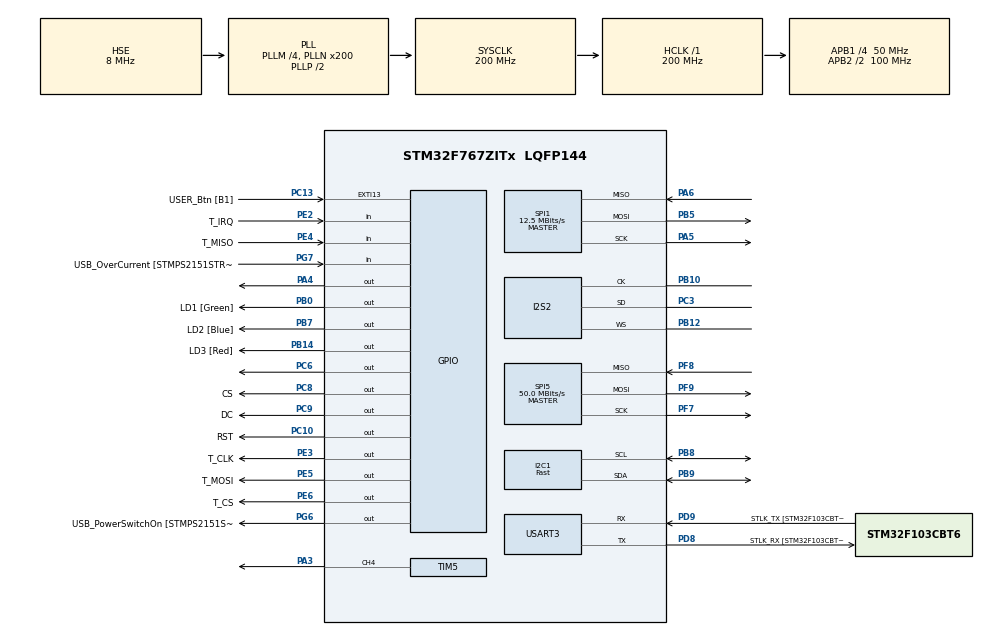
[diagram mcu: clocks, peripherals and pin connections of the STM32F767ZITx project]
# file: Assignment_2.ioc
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CORTEX_M7.CPU_DCache=Enabled
CORTEX_M7.CPU_ICache=Enabled
FATFS._MAX_SS=4096
FATFS._USE_LFN=1
I2C1.I2C_Fall_Time=0
I2C1.I2C_Rise_Time=0
I2C1.I2C_Speed_Mode=I2C_Fast
I2C1.Timing=0x00401959
I2S2.AudioFreq=I2S_AUDIOFREQ_44K
I2S2.ErrorAudioFreq=0.26 %
I2S2.FullDuplexMode=I2S_FULLDUPLEXMODE_DISABLE
I2S2.Instance=SPI$Index
I2S2.RealAudioFreq=44.117 KHz
I2S2.VirtualMode=I2S_MODE_MASTER
Mcu.Family=STM32F7
Mcu.Name=STM32F767ZITx
Mcu.Package=LQFP144
NVIC.PriorityGroup=NVIC_PRIORITYGROUP_4
NVIC.SPI2_IRQn=true\:0\:0\:false\:false\:true\:true\:true
NVIC.TIM2_IRQn=true\:1\:0\:true\:false\:true\:true\:true
NVIC.TIM3_IRQn=true\:1\:0\:true\:false\:true\:true\:true
NVIC.TIM4_IRQn=true\:1\:0\:true\:false\:true\:true\:true
PA1.GPIO_Label=RMII_REF_CLK [LAN8742A-CZ-TR_REFCLK0]
PA1.Signal=ETH_REF_CLK
PA10.GPIO_Label=USB_ID
PA10.Signal=USB_OTG_FS_ID
PA11.GPIO_Label=USB_DM
PA11.Signal=USB_OTG_FS_DM
PA12.GPIO_Label=USB_DP
PA12.Signal=USB_OTG_FS_DP
PA13.GPIO_Label=TMS
PA13.Mode=Serial_Wire
PA13.Signal=SYS_JTMS-SWDIO
PA14.GPIO_Label=TCK
PA14.Mode=Serial_Wire
PA14.Signal=SYS_JTCK-SWCLK
PA2.GPIO_Label=RMII_MDIO [LAN8742A-CZ-TR_MDIO]
PA2.Signal=ETH_MDIO
PA3.Signal=S_TIM5_CH4
PA4.Signal=GPIO_Output
PA5.Mode=Full_Duplex_Master
PA5.Signal=SPI1_SCK
PA6.Mode=Full_Duplex_Master
PA6.Signal=SPI1_MISO
PA7.GPIO_Label=RMII_CRS_DV [LAN8742A-CZ-TR_CRS_DV]
PA7.Signal=ETH_CRS_DV
PA8.GPIO_Label=USB_SOF [TP1]
PA8.Signal=USB_OTG_FS_SOF
PA9.GPIO_Label=USB_VBUS
PA9.Signal=USB_OTG_FS_VBUS
PB0.GPIO_Label=LD1 [Green]
PB0.Signal=GPIO_Output
PB10.Mode=Half_Duplex_Master
PB10.Signal=I2S2_CK
PB12.Mode=Half_Duplex_Master
PB12.Signal=I2S2_WS
PB13.GPIO_Label=RMII_TXD1 [LAN8742A-CZ-TR_TXD1]
PB13.Signal=ETH_TXD1
PB14.GPIO_Label=LD3 [Red]
PB14.Signal=GPIO_Output
PB3.GPIO_Label=SWO
PB3.Signal=SYS_JTDO-SWO
PB5.Mode=Full_Duplex_Master
PB5.Signal=SPI1_MOSI
PB7.GPIO_Label=LD2 [Blue]
PB7.Signal=GPIO_Output
PB8.Mode=I2C
PB8.Signal=I2C1_SCL
PB9.Mode=I2C
PB9.Signal=I2C1_SDA
PC1.GPIO_Label=RMII_MDC [LAN8742A-CZ-TR_MDC]
PC1.Signal=ETH_MDC
PC10.GPIO_Label=RST
PC10.Signal=GPIO_Output
PC13.GPIO_Label=USER_Btn [B1]
PC13.Signal=GPXTI13
PC14/OSC32_IN.Mode=LSE-External-Oscillator
PC14/OSC32_IN.Signal=RCC_OSC32_IN
PC15/OSC32_OUT.Mode=LSE-External-Oscillator
PC15/OSC32_OUT.Signal=RCC_OSC32_OUT
PC3.Mode=Half_Duplex_Master
PC3.Signal=I2S2_SD
PC4.GPIO_Label=RMII_RXD0 [LAN8742A-CZ-TR_RXD0]
PC4.Signal=ETH_RXD0
PC5.GPIO_Label=RMII_RXD1 [LAN8742A-CZ-TR_RXD1]
PC5.Signal=ETH_RXD1
PC6.Signal=GPIO_Output
PC8.GPIO_Label=CS
PC8.Signal=GPIO_Output
PC9.GPIO_Label=DC
PC9.Signal=GPIO_Output
PD8.GPIO_Label=STLK_RX [STM32F103CBT6_PA3]
PD8.Mode=Asynchronous
PD8.Signal=USART3_TX
PD9.GPIO_Label=STLK_TX [STM32F103CBT6_PA2]
PD9.Mode=Asynchronous
PD9.Signal=USART3_RX
PE2.GPIO_Label=T_IRQ
PE2.Signal=GPIO_Input
PE3.GPIO_Label=T_CLK
PE3.Signal=GPIO_Output
PE4.GPIO_Label=T_MISO
PE4.Signal=GPIO_Input
PE5.GPIO_Label=T_MOSI
PE5.Signal=GPIO_Output
PE6.GPIO_Label=T_CS
PE6.Signal=GPIO_Output
PF7.Mode=Full_Duplex_Master
PF7.Signal=SPI5_SCK
PF8.Mode=Full_Duplex_Master
PF8.Signal=SPI5_MISO
PF9.Mode=Full_Duplex_Master
PF9.Signal=SPI5_MOSI
PG11.GPIO_Label=RMII_TX_EN [LAN8742A-CZ-TR_TXEN]
PG11.Signal=ETH_TX_EN
PG13.GPIO_Label=RMII_TXD0 [LAN8742A-CZ-TR_TXD0]
PG13.Signal=ETH_TXD0
PG6.GPIO_Label=USB_PowerSwitchOn [STMPS2151STR_EN]
PG6.Signal=GPIO_Output
PG7.GPIO_Label=USB_OverCurrent [STMPS2151STR_FAULT]
PG7.Signal=GPIO_Input
PH0/OSC_IN.GPIO_Label=MCO [STM32F103CBT6_PA8]
PH0/OSC_IN.Mode=HSE-External-Clock-Source
PH0/OSC_IN.Signal=RCC_OSC_IN
PH1/OSC_OUT.Mode=HSE-External-Clock-Source
PH1/OSC_OUT.Signal=RCC_OSC_OUT
ProjectManager.HeapSize=0x200
ProjectManager.StackSize=0x400
ProjectManager.TargetToolchain=MDK-ARM V5
RCC.48MHZClocksFreq_Value=24000000
RCC.AHBFreq_Value=200000000
RCC.APB1CLKDivider=RCC_HCLK_DIV4
RCC.APB1Freq_Value=50000000
RCC.APB1TimFreq_Value=100000000
RCC.APB2CLKDivider=RCC_HCLK_DIV2
RCC.APB2Freq_Value=100000000
RCC.APB2TimFreq_Value=200000000
RCC.CortexFreq_Value=200000000
RCC.HCLKFreq_Value=200000000
RCC.HSE_VALUE=8000000
RCC.HSI_VALUE=16000000
RCC.PLLM=4
RCC.PLLMUL=RCC_PLL_MUL9
RCC.PLLN=200
RCC.PLLQ=9
RCC.PLLSourceVirtual=RCC_PLLSOURCE_HSE
RCC.PRESCALERUSB=RCC_USBCLKSOURCE_PLL_DIV1_5
RCC.SYSCLKFreq_VALUE=200000000
RCC.SYSCLKSource=RCC_SYSCLKSOURCE_PLLCLK
RCC.SYSCLKSourceVirtual=RCC_SYSCLKSOURCE_PLLCLK
RCC.USBFreq_Value=44444444.44444445
RCC.VCOOutputFreq_Value=400000000
SH.S_TIM5_CH4.0=TIM5_CH4,PWM Generation4 CH4
SPI1.BaudRatePrescaler=SPI_BAUDRATEPRESCALER_8
SPI1.CalculateBaudRate=12.5 MBits/s
SPI1.DataSize=SPI_DATASIZE_8BIT
SPI1.Direction=SPI_DIRECTION_2LINES
SPI1.Mode=SPI_MODE_MASTER
SPI1.VirtualType=VM_MASTER
SPI5.CalculateBaudRate=50.0 MBits/s
SPI5.DataSize=SPI_DATASIZE_8BIT
SPI5.Direction=SPI_DIRECTION_2LINES
SPI5.Mode=SPI_MODE_MASTER
SPI5.NSSPMode=SPI_NSS_PULSE_DISABLE
SPI5.VirtualType=VM_MASTER
TIM1.ClockDivision=TIM_CLOCKDIVISION_DIV2
TIM1.Period=0
TIM1.Prescaler=10000
TIM2.Period=1000-1
TIM2.Prescaler=100-1
TIM3.Period=1000-1
TIM3.Prescaler=100-1
TIM4.Period=1000-1
TIM4.Prescaler=100-1
TIM5.Channel-PWM\ Generation4\ CH4=TIM_CHANNEL_4
TIM5.Period=1000-1
TIM5.Prescaler=100-1
USART3.VirtualMode-Asynchronous=VM_ASYNC
VP_FATFS_VS_Generic.Mode=User_defined
VP_RNG_VS_RNG.Mode=RNG_Activate
VP_TIM1_VS_ClockSourceINT.Mode=Internal
VP_TIM2_VS_ClockSourceINT.Mode=Internal
VP_TIM3_VS_ClockSourceINT.Mode=Internal
VP_TIM4_VS_ClockSourceINT.Mode=Internal
board=NUCLEO-F767ZI

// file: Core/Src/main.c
/* USER CODE BEGIN Header */
/**
  ******************************************************************************
  * @file           : main.c
  * @brief          : Main program body
  ******************************************************************************
  * @attention
  *
  * <h2><center>&copy; Copyright (c) 2021 STMicroelectronics.
  * All rights reserved.</center></h2>
  *
  * This software component is licensed by ST under BSD 3-Clause license,
  * the "License"; You may not use this file except in compliance with the
  * License. You may obtain a copy of the License at:
  *                        opensource.org/licenses/BSD-3-Clause
  *
  ******************************************************************************
  */
/* USER CODE END Header */
#include "main.h"
#include "fatfs.h"
#include "i2c.h"
#include "i2s.h"
#include "rng.h"
#include "spi.h"
#include "tim.h"
#include "usart.h"
#include "gpio.h"

/* USER CODE BEGIN Includes */
#include "Core.h"
/* USER CODE END Includes */

/* USER CODE BEGIN PV */
DeviceParams deviceParams;
DisplayParams displayParams;

// TIM Counter
uint32_t count2;
uint32_t count3;
uint32_t count4;

/* USER CODE END PV */

void SystemClock_Config(void);

/* USER CODE BEGIN 0 */
extern void HAL_I2S_TxCpltCallback(I2S_HandleTypeDef *hi2s);
/* USER CODE END 0 */

int main(void)
{

  /* Enable I-Cache---------------------------------------------------------*/
  SCB_EnableICache();

  /* Enable D-Cache---------------------------------------------------------*/
  SCB_EnableDCache();

  /* MCU Configuration--------------------------------------------------------*/

  /* Reset of all peripherals, Initializes the Flash interface and the Systick. */
  HAL_Init();

  /* Configure the system clock */
  SystemClock_Config();

  /* Initialize all configured peripherals */
  MX_GPIO_Init();
  MX_SPI5_Init();
  MX_TIM1_Init();
  MX_USART3_UART_Init();
  MX_RNG_Init();
  MX_TIM2_Init();
  MX_TIM3_Init();
  MX_TIM4_Init();
  MX_TIM5_Init();
  MX_I2C1_Init();
  MX_I2S2_Init();
  MX_SPI1_Init();
  MX_FATFS_Init();
  /* USER CODE BEGIN 2 */
	HAL_TIM_Base_Start_IT(&htim2);
	HAL_TIM_Base_Start_IT(&htim3);
	HAL_TIM_Base_Start_IT(&htim4);
	HAL_TIM_PWM_Start(&htim5, TIM_CHANNEL_4);

	Core_Init(&deviceParams, &displayParams);
  /* USER CODE END 2 */

  /* Infinite loop */
  while (1)
  {

    /* USER CODE BEGIN 3 */
		displayScreen();

		checkMainClock();
		checkAlarmClock();
		updateTimer();
		updateStopwatch();

		Music_FunctionLoop();

		if(displayParams.currentScreen != AlarmPopup && displayParams.currentScreen != TimerPopup) checkAutoSleepWake();
  }
  /* USER CODE END 3 */
}

void SystemClock_Config(void)
{
  RCC_OscInitTypeDef RCC_OscInitStruct = {0};
  RCC_ClkInitTypeDef RCC_ClkInitStruct = {0};
  RCC_PeriphCLKInitTypeDef PeriphClkInitStruct = {0};

  /** Configure LSE Drive Capability
  */
  HAL_PWR_EnableBkUpAccess();
  /** Configure the main internal regulator output voltage
  */
  __HAL_RCC_PWR_CLK_ENABLE();
  __HAL_PWR_VOLTAGESCALING_CONFIG(PWR_REGULATOR_VOLTAGE_SCALE1);
  /** Initializes the RCC Oscillators according to the specified parameters
  * in the RCC_OscInitTypeDef structure.
  */
  RCC_OscInitStruct.OscillatorType = RCC_OSCILLATORTYPE_HSE;
  RCC_OscInitStruct.HSEState = RCC_HSE_BYPASS;
  RCC_OscInitStruct.PLL.PLLState = RCC_PLL_ON;
  RCC_OscInitStruct.PLL.PLLSource = RCC_PLLSOURCE_HSE;
  RCC_OscInitStruct.PLL.PLLM = 4;
  RCC_OscInitStruct.PLL.PLLN = 200;
  RCC_OscInitStruct.PLL.PLLP = RCC_PLLP_DIV2;
  RCC_OscInitStruct.PLL.PLLQ = 9;
  if (HAL_RCC_OscConfig(&RCC_OscInitStruct) != HAL_OK)
  {
    Error_Handler();
  }
  /** Activate the Over-Drive mode
  */
  if (HAL_PWREx_EnableOverDrive() != HAL_OK)
  {
    Error_Handler();
  }
  /** Initializes the CPU, AHB and APB buses clocks
  */
  RCC_ClkInitStruct.ClockType = RCC_CLOCKTYPE_HCLK|RCC_CLOCKTYPE_SYSCLK
                              |RCC_CLOCKTYPE_PCLK1|RCC_CLOCKTYPE_PCLK2;
  RCC_ClkInitStruct.SYSCLKSource = RCC_SYSCLKSOURCE_PLLCLK;
  RCC_ClkInitStruct.AHBCLKDivider = RCC_SYSCLK_DIV1;
  RCC_ClkInitStruct.APB1CLKDivider = RCC_HCLK_DIV4;
  RCC_ClkInitStruct.APB2CLKDivider = RCC_HCLK_DIV2;

  if (HAL_RCC_ClockConfig(&RCC_ClkInitStruct, FLASH_LATENCY_6) != HAL_OK)
  {
    Error_Handler();
  }
  PeriphClkInitStruct.PeriphClockSelection = RCC_PERIPHCLK_USART3|RCC_PERIPHCLK_I2C1
                              |RCC_PERIPHCLK_I2S|RCC_PERIPHCLK_CLK48;
  PeriphClkInitStruct.PLLI2S.PLLI2SN = 192;
  PeriphClkInitStruct.PLLI2S.PLLI2SP = RCC_PLLP_DIV2;
  PeriphClkInitStruct.PLLI2S.PLLI2SR = 2;
  PeriphClkInitStruct.PLLI2S.PLLI2SQ = 2;
  PeriphClkInitStruct.PLLI2SDivQ = 1;
  PeriphClkInitStruct.I2sClockSelection = RCC_I2SCLKSOURCE_PLLI2S;
  PeriphClkInitStruct.Usart3ClockSelection = RCC_USART3CLKSOURCE_PCLK1;
  PeriphClkInitStruct.I2c1ClockSelection = RCC_I2C1CLKSOURCE_PCLK1;
  PeriphClkInitStruct.Clk48ClockSelection = RCC_CLK48SOURCE_PLL;
  if (HAL_RCCEx_PeriphCLKConfig(&PeriphClkInitStruct) != HAL_OK)
  {
    Error_Handler();
  }
}

void Error_Handler(void)
{
  __disable_irq();
  while (1)
  {
  }
}

/************************ (C) COPYRIGHT STMicroelectronics *****END OF FILE****/
